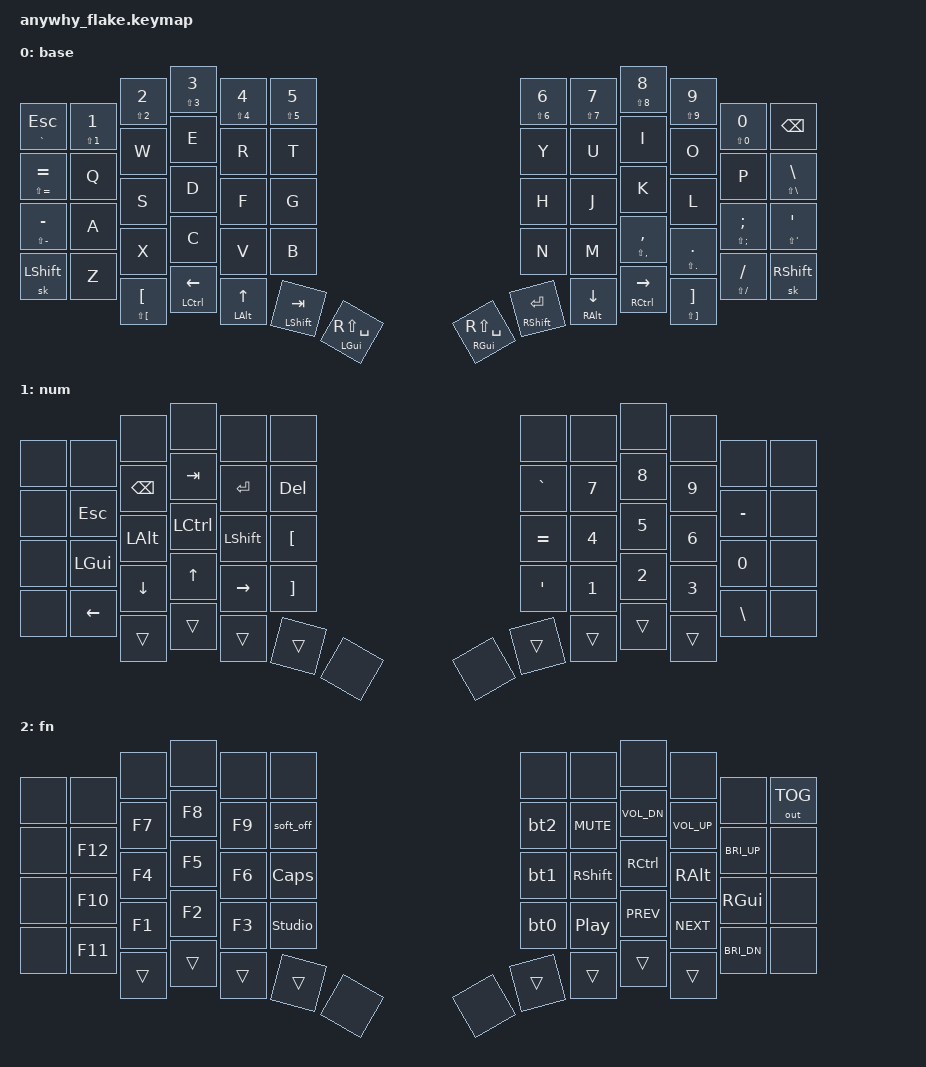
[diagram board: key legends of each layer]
#include <behaviors.dtsi>
#include <dt-bindings/zmk/bt.h>
#include <dt-bindings/zmk/keys.h>
#include <dt-bindings/zmk/outputs.h>

/ {
    combos {
        compatible = "zmk,combos";

        bt_sel_3 {
            bindings = <&bt3>;
            key-positions = <42 30>;
            layers = <2>;
        };

        bt_sel_4 {
            bindings = <&bt4>;
            key-positions = <30 18>;
            layers = <2>;
        };

        grave {
            bindings = <&kp GRAVE>;
            key-positions = <13 25>;
            layers = <3>;
        };

        layer1 {
            bindings = <&sl 1>;
            key-positions = <51 52>;
        };

        layer2 {
            bindings = <&sl 2>;
            key-positions = <53 54>;
        };

        ctrlc {
            bindings = <&kp LC(C)>;
            key-positions = <0 1>;
        };

        del {
            bindings = <&kp DELETE>;
            key-positions = <10 11>;
        };

        alttab {
            bindings = <&kp RG(TAB)>;
            key-positions = <46 47>;
        };

        undo {
            bindings = <&kp LG(Z)>;
            key-positions = <36 37>;
        };

        copy {
            bindings = <&kp LG(C)>;
            key-positions = <48 49>;
        };

        paste {
            bindings = <&kp LG(V)>;
            key-positions = <49 50>;
        };

        cut {
            bindings = <&kp LG(X)>;
            key-positions = <48 49 50>;
        };
    };

    macros {
        bt_clr_0: bt_clr_0 {
            compatible = "zmk,behavior-macro";
            #binding-cells = <0>;
            bindings = <&bt BT_SEL 0 &bt BT_CLR>;
            label = "BT_CLR_0";
        };

        bt_clr_1: bt_clr_1 {
            compatible = "zmk,behavior-macro";
            #binding-cells = <0>;
            bindings = <&bt BT_SEL 1 &bt BT_CLR>;
            label = "BT_CLR_1";
        };

        bt_clr_2: bt_clr_2 {
            compatible = "zmk,behavior-macro";
            #binding-cells = <0>;
            bindings = <&bt BT_SEL 2 &bt BT_CLR>;
            label = "BT_CLR_2";
        };

        bt_clr_3: bt_clr_3 {
            compatible = "zmk,behavior-macro";
            #binding-cells = <0>;
            bindings = <&bt BT_SEL 3 &bt BT_CLR>;
            label = "BT_CLR_3";
        };

        bt_clr_4: bt_clr_4 {
            compatible = "zmk,behavior-macro";
            #binding-cells = <0>;
            bindings = <&bt BT_SEL 4 &bt BT_CLR>;
            label = "BT_CLR_4";
        };
    };

    behaviors {
        bt0: bt0 {
            compatible = "zmk,behavior-mod-morph";
            label = "BT0";
            bindings = <&bt BT_SEL 0>, <&bt_clr_0>;

            #binding-cells = <0>;
            mods = <(MOD_LSFT|MOD_RSFT)>;
        };

        bt1: bt1 {
            compatible = "zmk,behavior-mod-morph";
            label = "BT1";
            bindings = <&bt BT_SEL 1>, <&bt_clr_1>;

            #binding-cells = <0>;
            mods = <(MOD_LSFT|MOD_RSFT)>;
        };

        bt2: bt2 {
            compatible = "zmk,behavior-mod-morph";
            label = "BT2";
            bindings = <&bt BT_SEL 2>, <&bt_clr_2>;

            #binding-cells = <0>;
            mods = <(MOD_LSFT|MOD_RSFT)>;
        };

        bt3: bt3 {
            compatible = "zmk,behavior-mod-morph";
            label = "BT3";
            bindings = <&bt BT_SEL 3>, <&bt_clr_3>;

            #binding-cells = <0>;
            mods = <(MOD_LSFT|MOD_RSFT)>;
        };

        bt4: bt4 {
            compatible = "zmk,behavior-mod-morph";
            label = "BT4";
            bindings = <&bt BT_SEL 4>, <&bt_clr_4>;

            #binding-cells = <0>;
            mods = <(MOD_LSFT|MOD_RSFT)>;
        };

        autoshift: autoshift {
            compatible = "zmk,behavior-hold-tap";
            label = "AUTOSHIFT";
            bindings = <&kp>, <&kp>;

            #binding-cells = <2>;
            tapping-term-ms = <180>;
            quick-tap-ms = <0>;
            flavor = "tap-preferred";
        };

        idletap: idletap {
            compatible = "zmk,behavior-hold-tap";
            label = "IDLETAP";
            bindings = <&kp>, <&kp>;

            #binding-cells = <2>;
            tapping-term-ms = <200>;
            quick-tap-ms = <100>;
            require-prior-idle-ms = <300>;
            flavor = "tap-preferred";
        };

        thumbtap: thumbtap {
            compatible = "zmk,behavior-hold-tap";
            label = "THUMBTAP";
            bindings = <&kp>, <&kp>;

            #binding-cells = <2>;
            tapping-term-ms = <240>;
            quick-tap-ms = <100>;
            flavor = "balanced";
            hold-while-undecided;
        };
    };

    keymap {
        compatible = "zmk,keymap";

        base {
            bindings = <
&autoshift GRAVE ESCAPE     &autoshift LS(N1) N1                      &autoshift LS(N2) N2               &autoshift LS(N3) N3         &autoshift LS(N4) N4      &autoshift LS(N5) N5           &autoshift LS(N6) N6          &autoshift LS(N7) N7       &autoshift LS(N8) N8            &autoshift LS(N9) N9           &autoshift LS(N0) N0                        &kp BACKSPACE
&autoshift LS(EQUAL) EQUAL  &kp Q                                     &kp W                              &kp E                        &kp R                     &kp T                          &kp Y                         &kp U                      &kp I                           &kp O                          &kp P                                       &autoshift LS(BACKSLASH) BACKSLASH
&autoshift LS(MINUS) MINUS  &kp A                                     &kp S                              &kp D                        &kp F                     &kp G                          &kp H                         &kp J                      &kp K                           &kp L                          &autoshift LS(SEMI) SEMI                    &autoshift LS(APOS) APOS
&sk LEFT_SHIFT              &kp Z                                     &kp X                              &kp C                        &kp V                     &kp B                          &kp N                         &kp M                      &autoshift LS(COMMA) COMMA      &autoshift LS(DOT) DOT         &autoshift LS(FSLH) FSLH                    &sk RIGHT_SHIFT
                            &autoshift LS(LEFT_BRACKET) LEFT_BRACKET  &thumbtap LEFT_CONTROL LEFT_ARROW  &thumbtap LEFT_ALT UP_ARROW  &thumbtap LEFT_SHIFT TAB  &idletap LEFT_GUI RS(SPACE)    &idletap RIGHT_GUI RS(SPACE)  &thumbtap RIGHT_SHIFT RET  &thumbtap RIGHT_ALT DOWN_ARROW  &thumbtap RIGHT_CONTROL RIGHT  &autoshift LS(RIGHT_BRACKET) RIGHT_BRACKET
            >;
        };

        num {
            bindings = <
&none  &none     &none          &none      &none      &none       &none      &none   &none   &none   &none      &none
&none  &kp ESC   &kp BACKSPACE  &kp TAB    &kp ENTER  &kp DEL     &kp GRAVE  &kp N7  &kp N8  &kp N9  &kp MINUS  &none
&none  &kp LGUI  &kp LALT       &kp LCTRL  &kp LSHFT  &kp LBKT    &kp EQUAL  &kp N4  &kp N5  &kp N6  &kp N0     &none
&none  &kp LEFT  &kp DOWN       &kp UP     &kp RIGHT  &kp RBKT    &kp SQT    &kp N1  &kp N2  &kp N3  &kp BSLH   &none
       &trans    &trans         &trans     &trans     &none       &none      &trans  &trans  &trans  &trans
            >;
        };

        fn {
            bindings = <
&none  &none    &none   &none   &none   &none             &none  &none       &none         &none         &none         &out OUT_TOG
&none  &kp F12  &kp F7  &kp F8  &kp F9  &soft_off         &bt2   &kp C_MUTE  &kp C_VOL_DN  &kp C_VOL_UP  &kp C_BRI_UP  &none
&none  &kp F10  &kp F4  &kp F5  &kp F6  &kp CAPS          &bt1   &kp RSHFT   &kp RCTRL     &kp RALT      &kp RGUI      &none
&none  &kp F11  &kp F1  &kp F2  &kp F3  &studio_unlock    &bt0   &kp C_PP    &kp C_PREV    &kp C_NEXT    &kp C_BRI_DN  &none
       &trans   &trans  &trans  &trans  &none             &none  &trans      &trans        &trans        &trans
            >;
        };
    };
};
